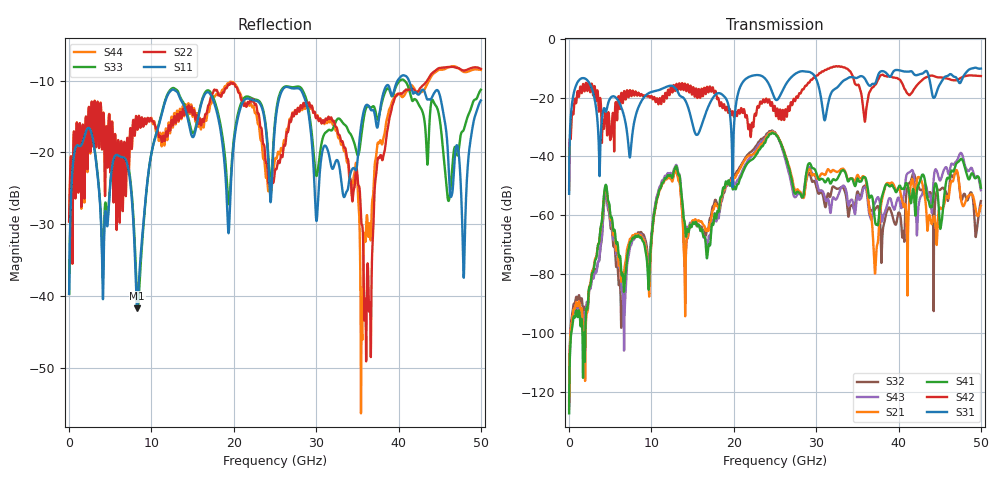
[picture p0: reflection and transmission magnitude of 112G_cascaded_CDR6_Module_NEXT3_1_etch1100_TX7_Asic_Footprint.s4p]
! Created Tue Feb 26 23:00:47 2019
# hz S ma R 50
! 4 Port Network Data from SP1.SP block
! freq  magS11  angS11  magS12  angS12  magS13  angS13  magS14  angS14
!  magS21  angS21  magS22  angS22  magS23  angS23  magS24  angS24
!  magS31  angS31  magS32  angS32  magS33  angS33  magS34  angS34
!  magS41  angS41  magS42  angS42  magS43  angS43  magS44  angS44
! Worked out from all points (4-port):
!   5000 points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, 10 MHz to 50 GHz, reference 50 ohm
!   strongest paths, dB at 10 MHz, 12.51 GHz, 25.01 GHz, 37.51 GHz, 50 GHz:
!     S31: -52.7, -16.0, -20.4, -12.4, -10.1
!     S42: -51.3, -18.1, -23.3, -13.9, -12.7
!     S41: -127.2, -47.3, -32.2, -63.1, -50.6
!     S21: -124.7, -48.5, -32.0, -68.8, -56.8
!     S43: -125.7, -46.6, -32.1, -53.8, -51.5
!     S32: -123.0, -47.8, -31.8, -56.9, -55.2
!   lowest |S11| = -41.7 dB at 8.27 GHz (marker M1), VSWR 1.02, Z = 49.5 - j0.687 ohm
!   |S11| at or under -10 dB: start of sweep to 39.89 GHz; 41.27 GHz to end of sweep
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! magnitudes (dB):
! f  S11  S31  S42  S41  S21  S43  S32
! 10 MHz  -39.7  -52.7  -51.3  -127.2  -124.7  -125.7  -123.0
! 1.36 GHz  -19.1  -13.7  -16.4  -96.7  -92.2  -94.4  -89.5
! 8.27 GHz  -41.7  -24.5  -19.3  -67.3  -66.7  -67.0  -66.4
! 12.38 GHz  -11.4  -16.0  -16.4  -46.5  -47.5  -45.8  -46.8
! 24.57 GHz  -25.5  -17.4  -21.8  -32.2  -31.7  -31.8  -31.3
! 37.19 GHz  -15.2  -15.1  -15.7  -62.6  -78.7  -55.5  -57.8
! 50 GHz  -12.8  -10.1  -12.7  -50.6  -56.8  -51.5  -55.2
